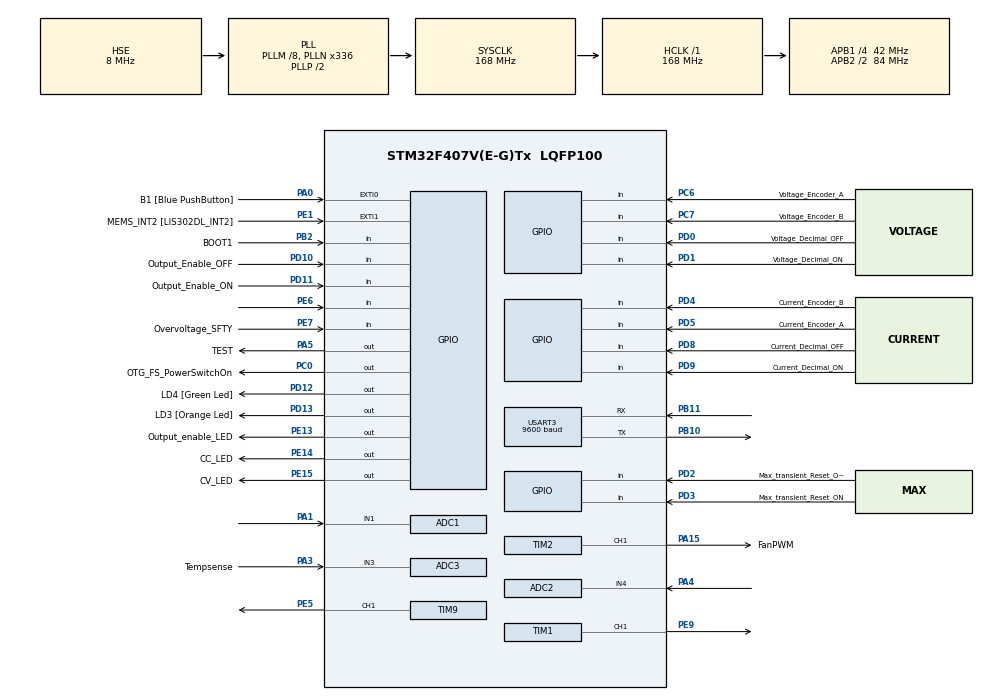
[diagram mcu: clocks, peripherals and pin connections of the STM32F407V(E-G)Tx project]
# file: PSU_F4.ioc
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ADC1.Channel-0\#ChannelRegularConversion=ADC_CHANNEL_1
ADC1.ContinuousConvMode=ENABLE
ADC1.DiscontinuousConvMode=DISABLE
ADC1.NbrOfConversion=1
ADC1.NbrOfConversionFlag=1
ADC1.Rank-0\#ChannelRegularConversion=1
ADC1.SamplingTime-0\#ChannelRegularConversion=ADC_SAMPLETIME_3CYCLES
ADC1.ScanConvMode=DISABLE
ADC1.master=1
ADC2.Channel-3\#ChannelRegularConversion=ADC_CHANNEL_4
ADC2.ContinuousConvMode=ENABLE
ADC2.NbrOfConversionFlag=1
ADC2.Rank-3\#ChannelRegularConversion=1
ADC2.SamplingTime-3\#ChannelRegularConversion=ADC_SAMPLETIME_3CYCLES
ADC3.Channel-0\#ChannelRegularConversion=ADC_CHANNEL_3
ADC3.ContinuousConvMode=ENABLE
ADC3.NbrOfConversionFlag=1
ADC3.Rank-0\#ChannelRegularConversion=1
ADC3.SamplingTime-0\#ChannelRegularConversion=ADC_SAMPLETIME_15CYCLES
Mcu.Family=STM32F4
Mcu.Name=STM32F407V(E-G)Tx
Mcu.Package=LQFP100
NVIC.PriorityGroup=NVIC_PRIORITYGROUP_0
NVIC.TIM4_IRQn=true\:0\:0\:false\:false\:true\:true\:true
NVIC.USART3_IRQn=true\:0\:0\:false\:false\:true\:true\:true
PA0-WKUP.GPIO_Label=B1 [Blue PushButton]
PA0-WKUP.GPIO_ModeDefaultEXTI=GPIO_MODE_EVT_RISING
PA0-WKUP.GPIO_PuPd=GPIO_NOPULL
PA0-WKUP.Signal=GPXTI0
PA1.Signal=ADCx_IN1
PA13.GPIO_Label=SWDIO
PA13.Mode=Serial_Wire
PA13.Signal=SYS_JTMS-SWDIO
PA14.GPIO_Label=SWCLK
PA14.Mode=Serial_Wire
PA14.Signal=SYS_JTCK-SWCLK
PA15.GPIO_Label=FanPWM
PA15.Signal=S_TIM2_CH1_ETR
PA3.GPIO_Label=Tempsense
PA3.Signal=ADCx_IN3
PA4.Signal=ADCx_IN4
PA5.GPIO_Label=TEST
PA5.Signal=GPIO_Output
PB10.Mode=Asynchronous
PB10.Signal=USART3_TX
PB11.Mode=Asynchronous
PB11.Signal=USART3_RX
PB2.GPIO_Label=BOOT1
PB2.GPIO_Mode=GPIO_MODE_INPUT
PB2.GPIO_PuPd=GPIO_NOPULL
PB2.Signal=GPIO_Input
PB3.GPIO_Label=SWO
PB3.Signal=SYS_JTDO-SWO
PC0.GPIO_Label=OTG_FS_PowerSwitchOn
PC0.GPIO_PuPd=GPIO_NOPULL
PC0.GPIO_Speed=GPIO_SPEED_FREQ_LOW
PC0.PinState=GPIO_PIN_SET
PC0.Signal=GPIO_Output
PC6.GPIO_Label=Voltage_Encoder_A
PC6.Signal=GPIO_Input
PC7.GPIO_Label=Voltage_Encoder_B
PC7.Signal=GPIO_Input
PD0.GPIO_Label=Voltage_Decimal_OFF
PD0.Signal=GPIO_Input
PD1.GPIO_Label=Voltage_Decimal_ON
PD1.Signal=GPIO_Input
PD10.GPIO_Label=Output_Enable_OFF
PD10.Signal=GPIO_Input
PD11.GPIO_Label=Output_Enable_ON
PD11.Signal=GPIO_Input
PD12.GPIO_Label=LD4 [Green Led]
PD12.GPIO_PuPd=GPIO_NOPULL
PD12.GPIO_Speed=GPIO_SPEED_FREQ_LOW
PD12.Signal=GPIO_Output
PD13.GPIO_Label=LD3 [Orange Led]
PD13.GPIO_PuPd=GPIO_NOPULL
PD13.GPIO_Speed=GPIO_SPEED_FREQ_LOW
PD13.Signal=GPIO_Output
PD2.GPIO_Label=Max_transient_Reset_OFF
PD2.Signal=GPIO_Input
PD3.GPIO_Label=Max_transient_Reset_ON
PD3.Signal=GPIO_Input
PD4.GPIO_Label=Current_Encoder_B
PD4.Signal=GPIO_Input
PD5.GPIO_Label=Current_Encoder_A
PD5.Signal=GPIO_Input
PD8.GPIO_Label=Current_Decimal_OFF
PD8.Signal=GPIO_Input
PD9.GPIO_Label=Current_Decimal_ON
PD9.Signal=GPIO_Input
PE1.GPIO_Label=MEMS_INT2 [LIS302DL_INT2]
PE1.GPIO_ModeDefaultEXTI=GPIO_MODE_EVT_RISING
PE1.GPIO_PuPd=GPIO_NOPULL
PE1.Signal=GPXTI1
PE13.GPIO_Label=Output_enable_LED
PE13.Signal=GPIO_Output
PE14.GPIO_Label=CC_LED
PE14.Signal=GPIO_Output
PE15.GPIO_Label=CV_LED
PE15.Signal=GPIO_Output
PE5.Signal=S_TIM9_CH1
PE6.Signal=GPIO_Input
PE7.GPIO_Label=Overvoltage_SFTY
PE7.Signal=GPIO_Input
PE9.Signal=S_TIM1_CH1
PH0-OSC_IN.GPIO_Label=PH0-OSC_IN
PH0-OSC_IN.Mode=HSE-External-Oscillator
PH0-OSC_IN.Signal=RCC_OSC_IN
PH1-OSC_OUT.GPIO_Label=PH1-OSC_OUT
PH1-OSC_OUT.Mode=HSE-External-Oscillator
PH1-OSC_OUT.Signal=RCC_OSC_OUT
ProjectManager.HeapSize=0x200
ProjectManager.StackSize=0x400
ProjectManager.TargetToolchain=SW4STM32
RCC.48MHZClocksFreq_Value=48000000
RCC.AHBFreq_Value=168000000
RCC.APB1CLKDivider=RCC_HCLK_DIV4
RCC.APB1Freq_Value=42000000
RCC.APB1TimFreq_Value=84000000
RCC.APB2CLKDivider=RCC_HCLK_DIV2
RCC.APB2Freq_Value=84000000
RCC.APB2TimFreq_Value=168000000
RCC.CortexFreq_Value=168000000
RCC.HCLKFreq_Value=168000000
RCC.HSE_VALUE=8000000
RCC.HSI_VALUE=16000000
RCC.LSE_VALUE=32768
RCC.PLLM=8
RCC.PLLN=336
RCC.PLLQ=7
RCC.PLLSourceVirtual=RCC_PLLSOURCE_HSE
RCC.SYSCLKFreq_VALUE=168000000
RCC.SYSCLKSource=RCC_SYSCLKSOURCE_PLLCLK
RCC.VCOOutputFreq_Value=336000000
SH.ADCx_IN1.0=ADC1_IN1,IN1
SH.ADCx_IN3.0=ADC3_IN3,IN3
SH.ADCx_IN4.0=ADC2_IN4,IN4
SH.S_TIM1_CH1.0=TIM1_CH1,PWM Generation1 CH1
SH.S_TIM2_CH1_ETR.0=TIM2_CH1,PWM Generation1 CH1
SH.S_TIM9_CH1.0=TIM9_CH1,PWM Generation1 CH1
TIM1.Channel-PWM\ Generation1\ CH1=TIM_CHANNEL_1
TIM1.Period=336-1
TIM1.Prescaler=1-1
TIM1.Pulse-PWM\ Generation1\ CH1=0
TIM2.Channel-PWM\ Generation1\ CH1=TIM_CHANNEL_1
TIM2.Period=100-1
TIM2.Prescaler=980-1
TIM2.Pulse-PWM\ Generation1\ CH1=25
TIM4.Period=100-1
TIM4.Prescaler=250-1
TIM9.Channel-PWM\ Generation1\ CH1=TIM_CHANNEL_1
TIM9.Period=100-1
TIM9.Prescaler=20-1
TIM9.Pulse-PWM\ Generation1\ CH1=50
USART3.BaudRate=9600
USART3.VirtualMode=VM_ASYNC
VP_TIM1_VS_ClockSourceINT.Mode=Internal
VP_TIM2_VS_ClockSourceINT.Mode=Internal
VP_TIM4_VS_ClockSourceINT.Mode=Internal
VP_TIM9_VS_ClockSourceINT.Mode=Internal
board=STM32F407G-DISC1

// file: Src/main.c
/* USER CODE BEGIN Header */
/**
 ******************************************************************************
 * @file           : main.c
 * @brief          : Main program body
 ******************************************************************************
 * @attention
 *
 * <h2><center>&copy; Copyright (c) 2019 STMicroelectronics.
 * All rights reserved.</center></h2>
 *
 * This software component is licensed by ST under Ultimate Liberty license
 * SLA0044, the "License"; You may not use this file except in compliance with
 * the License. You may obtain a copy of the License at:
 *                             www.st.com/SLA0044
 *
 ******************************************************************************
 */
/* USER CODE END Header */

#include "main.h"

/* USER CODE BEGIN Includes */

#include "arm_math.h"
#include <stdio.h>
#include <stdlib.h>
#include <string.h>
#include "stm32f4xx.h"
#include <stm32f4xx_hal.h>
#include <stm32_hal_legacy.h>

/* USER CODE END Includes */

/* USER CODE BEGIN PTD */
arm_pid_instance_f32 PID;     //ARM PID instance float 32b

/* USER CODE END PTD */

/* USER CODE BEGIN PD */
#define VOLT_DIV_FACTOR		0.0595 	// assuming R1 = 16.4k and R2 = 1k (3V / 0.595 = 50.4)
// this is still dependent on resistor tolerances
#define CURR_DIV_FACTOR 	0.5		// CSA gain is 0.5V/A, ref to 3V...
// 0A -> 3V, 1A -> 2.5V, 2A -> 2V, 6A -> 0V

#define VOLT_OFFSET			-0.1		// CALIBRATE
#define CURR_OFFSET			0		// CALIBRATE
#define CURR_REF			3		// reference voltage for CSA, CALIBRATE THIS
#define cc_hysterisis       0.01	// to prevent quick jumps b/w CC and CV modes
#define N					1000		// moving avg approx uses 100 past samples

/* USER CODE END PD */

ADC_HandleTypeDef hadc1;
ADC_HandleTypeDef hadc2;
ADC_HandleTypeDef hadc3;

TIM_HandleTypeDef htim1;
TIM_HandleTypeDef htim2;
TIM_HandleTypeDef htim4;
TIM_HandleTypeDef htim9;

UART_HandleTypeDef huart3;

/* USER CODE BEGIN PV */

int error_voltage = 0;   //rename and write conditions for errors
int error_current = 0;
int error_temp = 0;
int OutputCounter = 0;

int OutputOn = 0;
int OutputOff = 0;

int User_Voltage_limit = 0;  //set from encoder
int VDecimal = 1;
int VDecimalCounter = 0;
int VDecimalOn = 0;
int VDecimalLast = 0;
int VaState = 0;
int VbState = 0;
int VaLastState = 0;
int VbLastState = 0;
int vd1 = 0;
int vd2 = 0;
int vd3 = 0;
int vd4 = 1;

int User_Current_limit = 0;  //set from encoder
int CDecimal = 1;
int CDecimalCounter = 0;
int CDecimalOn = 0;
int CDecimalLast = 0;
int CaState = 0;
int CbState = 0;
int CaLastState = 0;
int CbLastState = 0;
int cd1 = 0;
int cd2 = 0;
int cd3 = 0;
int cd4 = 1;

int Watts = 0;  	//Power being displayed to user, calculated from output V and I
int LastWatts = 0;
int farh_avg_int = 0;
int Lastfarh = 0;
int maxreset = 0;
int ResetOn  = 0;
int ResetOff  = 0;

char* data = "Hello World\n\r";
char tx[25];
int count = 0;

//RGB LED
int i = 0;
int up = 0;

int raw_tempsense_value = 0; 	//12b value from adc for TempSense
float farh = 0;
int max_trans_current = 0;

int raw_voltage = 0;            //12b value from adc for vsense
int raw_current = 0;            //12b value from adc for isense
float pwm_val = 0;				//PWM value for duty cycle adjustment to gate driver
float pwm_val_avg = 0;
float v_sense = 0;				//buck output voltage sense
float i_sense = 0;				//buck output current sense
float rload = 0;            	//buck calculated load from v_sense & i_sense
float pid_error = 0;			//difference from target v or i and sensed v or i
int user_en = 1;            	//output enable flag
float i_lim = 0;        		//user selected current limit @elliott  made changes and uses actuall set limit
float v_lim = 0;           		//user selected voltage limit @elliott made changes

float v_sense_avg = 0;			//moving average val of v_sense
float i_sense_avg = 0;			//moving average val of i_sense
float farh_avg = 0;
float current = 0;              					//0-3V conversion for voltage
int v_sense_avg_int = 0;
int i_sense_avg_int = 0;
int cvcc_flag = 0;				//constant voltage = 1, constant current = 0 (modes of operation)

float PID_Kp = 10;             	//proportional gain
float PID_Ki = 0.0006;         	//integral gain
float PID_Kd = 300;             //derivative gain

/* USER CODE END PV */

void SystemClock_Config(void);
static void MX_GPIO_Init(void);
static void MX_ADC1_Init(void);
static void MX_TIM1_Init(void);
static void MX_TIM2_Init(void);
static void MX_ADC2_Init(void);
static void MX_ADC3_Init(void);
static void MX_USART3_UART_Init(void);
static void MX_TIM4_Init(void);
static void MX_TIM9_Init(void);
/* USER CODE BEGIN PFP */

void OutputEnable(int error_voltage, int error_current, int error_temp);
void getVoltage_limit(void);
void getCurrent_limit(void);

static float approxMovingAvg(float avg, float new_sample);
void senseADC(void);
void getV(void);
void getI(void);
void getPower(void);
void getTemp(void);
void FanPWM(void);
void getMode(void);
void max_trans(void);
void PIDsetBuckPWM();

void HAL_UART_TxCpltCallback(UART_HandleTypeDef *huart){	//Print Function

	if (count > 15){
		count = 0;
	}

	switch(count)
	{
	case 0:
		HAL_UART_Transmit_IT(&huart3, (uint8_t *)tx, sprintf(tx, "vd1.val=%d%c%c%c",vd1,255,255,255));
		//HAL_GPIO_TogglePin(PA5);
		break;
	case 1:
		HAL_UART_Transmit_IT(&huart3, (uint8_t *)tx, sprintf(tx, "vd2.val=%d%c%c%c",vd2,255,255,255));
		break;
	case 2:
		HAL_UART_Transmit_IT(&huart3, (uint8_t *)tx, sprintf(tx, "vd3.val=%d%c%c%c",vd3,255,255,255));
		break;
	case 3:
		HAL_UART_Transmit_IT(&huart3, (uint8_t *)tx, sprintf(tx, "vd4.val=%d%c%c%c",vd4,255,255,255));
		break;
	case 4:
		HAL_UART_Transmit_IT(&huart3, (uint8_t *)tx, sprintf(tx, "VoltageL.val=%d%c%c%c",User_Voltage_limit,255,255,255));
		break;
	case 5:
		HAL_UART_Transmit_IT(&huart3, (uint8_t *)tx, sprintf(tx, "VoltageO.val=%d%c%c%c",v_sense_avg_int,255,255,255));
		break;
	case 6:
		HAL_UART_Transmit_IT(&huart3, (uint8_t *)tx, sprintf(tx, "cd1.val=%d%c%c%c",cd1,255,255,255));
		break;
	case 7:
		HAL_UART_Transmit_IT(&huart3, (uint8_t *)tx, sprintf(tx, "cd2.val=%d%c%c%c",cd2,255,255,255));
		break;
	case 8:
		HAL_UART_Transmit_IT(&huart3, (uint8_t *)tx, sprintf(tx, "cd3.val=%d%c%c%c",cd3,255,255,255));
		break;
	case 9:
		HAL_UART_Transmit_IT(&huart3, (uint8_t *)tx, sprintf(tx, "cd4.val=%d%c%c%c",cd4,255,255,255));
		break;
	case 10:
		HAL_UART_Transmit_IT(&huart3, (uint8_t *)tx, sprintf(tx, "CurrentL.val=%d%c%c%c",User_Current_limit,255,255,255));
		break;
	case 11:
		HAL_UART_Transmit_IT(&huart3, (uint8_t *)tx, sprintf(tx, "CurrentO.val=%d%c%c%c",i_sense_avg_int,255,255,255));
		break;
	case 12:
		HAL_UART_Transmit_IT(&huart3, (uint8_t *)tx, sprintf(tx, "Trans.val=%d%c%c%c",max_trans_current,255,255,255));
		break;
	case 13:
		HAL_UART_Transmit_IT(&huart3, (uint8_t *)tx, sprintf(tx, "TransON.val=%d%c%c%c",maxreset,255,255,255));
		break;
	case 14:
		HAL_UART_Transmit_IT(&huart3, (uint8_t *)tx, sprintf(tx, "Watts.val=%d%c%c%c",Watts,255,255,255));
		break;
	case 15:
		HAL_UART_Transmit_IT(&huart3, (uint8_t *)tx, sprintf(tx, "Temp.val=%d%c%c%c",farh_avg_int,255,255,255));
		break;
		//	case 16:
		//		if(error_temp == 1){
		//			HAL_UART_Transmit_IT(&huart3, (uint8_t *)tx, sprintf(tx, "Temp.pco=%d%c%c%c",63488,255,255,255));	//turns temp number red on screen
		//		}
		//		break;
		//	case 17:
		//		if(error_temp == 1){
		//			HAL_UART_Transmit_IT(&huart3, (uint8_t *)tx, sprintf(tx, "temptxt.pco=%d%c%c%c",63488,255,255,255));//turns temp text red on screen
		//		}
		//		break;
		//	case 18:
		//		if(error_temp == 1){
		//			HAL_UART_Transmit_IT(&huart3, (uint8_t *)tx, sprintf(tx, "ftxt.pco=%d%c%c%c",63488,255,255,255));	//turns F text red on screen
		//		}
		//		break;
	}
	count++;
}
/* USER CODE END PFP */

/* USER CODE BEGIN 0 */

void HAL_TIM_PeriodElapsedCallback(TIM_HandleTypeDef *htim){	//RGB LED Interrupt

	if( htim -> Instance ==TIM4){	//Fade red and blue
		if(i<2){
			up = 1;
		}
		if(i>100){
			up = 0;
		}
		if(up == 1){
			i++;
		}
		if(up == 0){
			i--;
		}
		__HAL_TIM_SET_COMPARE(&htim9, TIM_CHANNEL_1, i);	//
	}
}
/* USER CODE END 0 */

int main(void)
{

  /* MCU Configuration--------------------------------------------------------*/

  /* Reset of all peripherals, Initializes the Flash interface and the Systick. */
  HAL_Init();

  /* USER CODE BEGIN Init */

	PID.Kp = PID_Kp;
	PID.Ki = PID_Ki;
	PID.Kd = PID_Kd;

	arm_pid_init_f32(&PID, 1);

  /* USER CODE END Init */

  /* Configure the system clock */
  SystemClock_Config();

  /* Initialize all configured peripherals */
  MX_GPIO_Init();
  MX_ADC1_Init();
  MX_TIM1_Init();
  MX_TIM2_Init();
  MX_ADC2_Init();
  MX_ADC3_Init();
  MX_USART3_UART_Init();
  MX_TIM4_Init();
  MX_TIM9_Init();
  /* USER CODE BEGIN 2 */
	HAL_TIM_PWM_Start(&htim1, TIM_CHANNEL_1); 		//Start PWM_HI for Buck
	//HAL_TIMEx_PWMN_Start(&htim1, TIM_CHANNEL_1); 	//Start PWM_LOW for Buck
	HAL_TIM_PWM_Start(&htim2, TIM_CHANNEL_1); 		//Start PWM for FAN
	//	HAL_TIM_Base_Start_IT(&htim3);           	//Start Interrupt Timer for 3
	HAL_UART_Transmit_IT(&huart3, (uint8_t *)data, 16);	//Begin Printing

	//RGB LED strip
	HAL_TIM_PWM_Start(&htim9, TIM_CHANNEL_1);
	HAL_TIM_Base_Start_IT(&htim4);           //Start Interrupt Timer for 4

  /* USER CODE END 2 */

  /* Infinite loop */
  /* USER CODE BEGIN WHILE */
	while (1)
	{
		//User Interface
		OutputEnable(error_voltage,error_current,error_temp);	//Output enable function, error parameters can be used to send error signal to disable output
		getVoltage_limit();
		getCurrent_limit();

		v_lim = User_Voltage_limit/100.0;
		i_lim = User_Current_limit/100.0;

		//		//temporary limit hardcoding for PID debug
		//		v_lim = 3; 	//V
		//		i_lim = 0.2; 	//A

		//user end
		senseADC();
		getV();
		getI();
		getPower();
		rload = v_sense_avg / i_sense_avg;

		getMode();			//1 = Const V, 0 = Const C mode
		PIDsetBuckPWM();	//set new PWM for buck using PID loop

		getTemp();
		max_trans();  		//Checks and displays max transient current when OE is pressed.
		FanPWM();

    /* USER CODE END WHILE */

	}
}

void SystemClock_Config(void)
{
  RCC_OscInitTypeDef RCC_OscInitStruct = {0};
  RCC_ClkInitTypeDef RCC_ClkInitStruct = {0};

  /** Configure the main internal regulator output voltage
  */
  __HAL_RCC_PWR_CLK_ENABLE();
  __HAL_PWR_VOLTAGESCALING_CONFIG(PWR_REGULATOR_VOLTAGE_SCALE1);
  /** Initializes the CPU, AHB and APB busses clocks
  */
  RCC_OscInitStruct.OscillatorType = RCC_OSCILLATORTYPE_HSE;
  RCC_OscInitStruct.HSEState = RCC_HSE_ON;
  RCC_OscInitStruct.PLL.PLLState = RCC_PLL_ON;
  RCC_OscInitStruct.PLL.PLLSource = RCC_PLLSOURCE_HSE;
  RCC_OscInitStruct.PLL.PLLM = 8;
  RCC_OscInitStruct.PLL.PLLN = 336;
  RCC_OscInitStruct.PLL.PLLP = RCC_PLLP_DIV2;
  RCC_OscInitStruct.PLL.PLLQ = 7;
  if (HAL_RCC_OscConfig(&RCC_OscInitStruct) != HAL_OK)
  {
    Error_Handler();
  }
  /** Initializes the CPU, AHB and APB busses clocks
  */
  RCC_ClkInitStruct.ClockType = RCC_CLOCKTYPE_HCLK|RCC_CLOCKTYPE_SYSCLK
                              |RCC_CLOCKTYPE_PCLK1|RCC_CLOCKTYPE_PCLK2;
  RCC_ClkInitStruct.SYSCLKSource = RCC_SYSCLKSOURCE_PLLCLK;
  RCC_ClkInitStruct.AHBCLKDivider = RCC_SYSCLK_DIV1;
  RCC_ClkInitStruct.APB1CLKDivider = RCC_HCLK_DIV4;
  RCC_ClkInitStruct.APB2CLKDivider = RCC_HCLK_DIV2;

  if (HAL_RCC_ClockConfig(&RCC_ClkInitStruct, FLASH_LATENCY_5) != HAL_OK)
  {
    Error_Handler();
  }
}

static void MX_ADC1_Init(void)
{

  ADC_ChannelConfTypeDef sConfig = {0};

  /** Configure the global features of the ADC (Clock, Resolution, Data Alignment and number of conversion)
  */
  hadc1.Instance = ADC1;
  hadc1.Init.ClockPrescaler = ADC_CLOCK_SYNC_PCLK_DIV4;
  hadc1.Init.Resolution = ADC_RESOLUTION_12B;
  hadc1.Init.ScanConvMode = DISABLE;
  hadc1.Init.ContinuousConvMode = ENABLE;
  hadc1.Init.DiscontinuousConvMode = DISABLE;
  hadc1.Init.ExternalTrigConvEdge = ADC_EXTERNALTRIGCONVEDGE_NONE;
  hadc1.Init.ExternalTrigConv = ADC_SOFTWARE_START;
  hadc1.Init.DataAlign = ADC_DATAALIGN_RIGHT;
  hadc1.Init.NbrOfConversion = 1;
  hadc1.Init.DMAContinuousRequests = DISABLE;
  hadc1.Init.EOCSelection = ADC_EOC_SINGLE_CONV;
  if (HAL_ADC_Init(&hadc1) != HAL_OK)
  {
    Error_Handler();
  }
  /** Configure for the selected ADC regular channel its corresponding rank in the sequencer and its sample time.
  */
  sConfig.Channel = ADC_CHANNEL_1;
  sConfig.Rank = 1;
  sConfig.SamplingTime = ADC_SAMPLETIME_3CYCLES;
  if (HAL_ADC_ConfigChannel(&hadc1, &sConfig) != HAL_OK)
  {
    Error_Handler();
  }

}

static void MX_ADC2_Init(void)
{

  ADC_ChannelConfTypeDef sConfig = {0};

  /** Configure the global features of the ADC (Clock, Resolution, Data Alignment and number of conversion)
  */
  hadc2.Instance = ADC2;
  hadc2.Init.ClockPrescaler = ADC_CLOCK_SYNC_PCLK_DIV4;
  hadc2.Init.Resolution = ADC_RESOLUTION_12B;
  hadc2.Init.ScanConvMode = DISABLE;
  hadc2.Init.ContinuousConvMode = ENABLE;
  hadc2.Init.DiscontinuousConvMode = DISABLE;
  hadc2.Init.ExternalTrigConvEdge = ADC_EXTERNALTRIGCONVEDGE_NONE;
  hadc2.Init.ExternalTrigConv = ADC_SOFTWARE_START;
  hadc2.Init.DataAlign = ADC_DATAALIGN_RIGHT;
  hadc2.Init.NbrOfConversion = 1;
  hadc2.Init.DMAContinuousRequests = DISABLE;
  hadc2.Init.EOCSelection = ADC_EOC_SINGLE_CONV;
  if (HAL_ADC_Init(&hadc2) != HAL_OK)
  {
    Error_Handler();
  }
  /** Configure for the selected ADC regular channel its corresponding rank in the sequencer and its sample time.
  */
  sConfig.Channel = ADC_CHANNEL_4;
  sConfig.Rank = 1;
  sConfig.SamplingTime = ADC_SAMPLETIME_3CYCLES;
  if (HAL_ADC_ConfigChannel(&hadc2, &sConfig) != HAL_OK)
  {
    Error_Handler();
  }

}

static void MX_ADC3_Init(void)
{

  ADC_ChannelConfTypeDef sConfig = {0};

  /** Configure the global features of the ADC (Clock, Resolution, Data Alignment and number of conversion)
  */
  hadc3.Instance = ADC3;
  hadc3.Init.ClockPrescaler = ADC_CLOCK_SYNC_PCLK_DIV4;
  hadc3.Init.Resolution = ADC_RESOLUTION_12B;
  hadc3.Init.ScanConvMode = DISABLE;
  hadc3.Init.ContinuousConvMode = ENABLE;
  hadc3.Init.DiscontinuousConvMode = DISABLE;
  hadc3.Init.ExternalTrigConvEdge = ADC_EXTERNALTRIGCONVEDGE_NONE;
  hadc3.Init.ExternalTrigConv = ADC_SOFTWARE_START;
  hadc3.Init.DataAlign = ADC_DATAALIGN_RIGHT;
  hadc3.Init.NbrOfConversion = 1;
  hadc3.Init.DMAContinuousRequests = DISABLE;
  hadc3.Init.EOCSelection = ADC_EOC_SINGLE_CONV;
  if (HAL_ADC_Init(&hadc3) != HAL_OK)
  {
    Error_Handler();
  }
  /** Configure for the selected ADC regular channel its corresponding rank in the sequencer and its sample time.
  */
  sConfig.Channel = ADC_CHANNEL_3;
  sConfig.Rank = 1;
  sConfig.SamplingTime = ADC_SAMPLETIME_15CYCLES;
  if (HAL_ADC_ConfigChannel(&hadc3, &sConfig) != HAL_OK)
  {
    Error_Handler();
  }

}

static void MX_TIM1_Init(void)
{

  TIM_ClockConfigTypeDef sClockSourceConfig = {0};
  TIM_MasterConfigTypeDef sMasterConfig = {0};
  TIM_OC_InitTypeDef sConfigOC = {0};
  TIM_BreakDeadTimeConfigTypeDef sBreakDeadTimeConfig = {0};

  htim1.Instance = TIM1;
  htim1.Init.Prescaler = 1-1;
  htim1.Init.CounterMode = TIM_COUNTERMODE_UP;
  htim1.Init.Period = 336-1;
  htim1.Init.ClockDivision = TIM_CLOCKDIVISION_DIV1;
  htim1.Init.RepetitionCounter = 0;
  htim1.Init.AutoReloadPreload = TIM_AUTORELOAD_PRELOAD_DISABLE;
  if (HAL_TIM_Base_Init(&htim1) != HAL_OK)
  {
    Error_Handler();
  }
  sClockSourceConfig.ClockSource = TIM_CLOCKSOURCE_INTERNAL;
  if (HAL_TIM_ConfigClockSource(&htim1, &sClockSourceConfig) != HAL_OK)
  {
    Error_Handler();
  }
  if (HAL_TIM_PWM_Init(&htim1) != HAL_OK)
  {
    Error_Handler();
  }
  sMasterConfig.MasterOutputTrigger = TIM_TRGO_RESET;
  sMasterConfig.MasterSlaveMode = TIM_MASTERSLAVEMODE_DISABLE;
  if (HAL_TIMEx_MasterConfigSynchronization(&htim1, &sMasterConfig) != HAL_OK)
  {
    Error_Handler();
  }
  sConfigOC.OCMode = TIM_OCMODE_PWM1;
  sConfigOC.Pulse = 0;
  sConfigOC.OCPolarity = TIM_OCPOLARITY_HIGH;
  sConfigOC.OCNPolarity = TIM_OCNPOLARITY_HIGH;
  sConfigOC.OCFastMode = TIM_OCFAST_DISABLE;
  sConfigOC.OCIdleState = TIM_OCIDLESTATE_RESET;
  sConfigOC.OCNIdleState = TIM_OCNIDLESTATE_RESET;
  if (HAL_TIM_PWM_ConfigChannel(&htim1, &sConfigOC, TIM_CHANNEL_1) != HAL_OK)
  {
    Error_Handler();
  }
  sBreakDeadTimeConfig.OffStateRunMode = TIM_OSSR_DISABLE;
  sBreakDeadTimeConfig.OffStateIDLEMode = TIM_OSSI_DISABLE;
  sBreakDeadTimeConfig.LockLevel = TIM_LOCKLEVEL_OFF;
  sBreakDeadTimeConfig.DeadTime = 0;
  sBreakDeadTimeConfig.BreakState = TIM_BREAK_DISABLE;
  sBreakDeadTimeConfig.BreakPolarity = TIM_BREAKPOLARITY_HIGH;
  sBreakDeadTimeConfig.AutomaticOutput = TIM_AUTOMATICOUTPUT_DISABLE;
  if (HAL_TIMEx_ConfigBreakDeadTime(&htim1, &sBreakDeadTimeConfig) != HAL_OK)
  {
    Error_Handler();
  }
  HAL_TIM_MspPostInit(&htim1);

}

static void MX_TIM2_Init(void)
{

  TIM_ClockConfigTypeDef sClockSourceConfig = {0};
  TIM_MasterConfigTypeDef sMasterConfig = {0};
  TIM_OC_InitTypeDef sConfigOC = {0};

  htim2.Instance = TIM2;
  htim2.Init.Prescaler = 980-1;
  htim2.Init.CounterMode = TIM_COUNTERMODE_UP;
  htim2.Init.Period = 100-1;
  htim2.Init.ClockDivision = TIM_CLOCKDIVISION_DIV1;
  htim2.Init.AutoReloadPreload = TIM_AUTORELOAD_PRELOAD_DISABLE;
  if (HAL_TIM_Base_Init(&htim2) != HAL_OK)
  {
    Error_Handler();
  }
  sClockSourceConfig.ClockSource = TIM_CLOCKSOURCE_INTERNAL;
  if (HAL_TIM_ConfigClockSource(&htim2, &sClockSourceConfig) != HAL_OK)
  {
    Error_Handler();
  }
  if (HAL_TIM_PWM_Init(&htim2) != HAL_OK)
  {
    Error_Handler();
  }
  sMasterConfig.MasterOutputTrigger = TIM_TRGO_RESET;
  sMasterConfig.MasterSlaveMode = TIM_MASTERSLAVEMODE_DISABLE;
  if (HAL_TIMEx_MasterConfigSynchronization(&htim2, &sMasterConfig) != HAL_OK)
  {
    Error_Handler();
  }
  sConfigOC.OCMode = TIM_OCMODE_PWM1;
  sConfigOC.Pulse = 25;
  sConfigOC.OCPolarity = TIM_OCPOLARITY_HIGH;
  sConfigOC.OCFastMode = TIM_OCFAST_DISABLE;
  if (HAL_TIM_PWM_ConfigChannel(&htim2, &sConfigOC, TIM_CHANNEL_1) != HAL_OK)
  {
    Error_Handler();
  }
  HAL_TIM_MspPostInit(&htim2);

}

static void MX_TIM4_Init(void)
{

  TIM_ClockConfigTypeDef sClockSourceConfig = {0};
  TIM_MasterConfigTypeDef sMasterConfig = {0};

  htim4.Instance = TIM4;
  htim4.Init.Prescaler = 250-1;
  htim4.Init.CounterMode = TIM_COUNTERMODE_UP;
  htim4.Init.Period = 100-1;
  htim4.Init.ClockDivision = TIM_CLOCKDIVISION_DIV1;
  htim4.Init.AutoReloadPreload = TIM_AUTORELOAD_PRELOAD_DISABLE;
  if (HAL_TIM_Base_Init(&htim4) != HAL_OK)
  {
    Error_Handler();
  }
  sClockSourceConfig.ClockSource = TIM_CLOCKSOURCE_INTERNAL;
  if (HAL_TIM_ConfigClockSource(&htim4, &sClockSourceConfig) != HAL_OK)
  {
    Error_Handler();
  }
  sMasterConfig.MasterOutputTrigger = TIM_TRGO_RESET;
  sMasterConfig.MasterSlaveMode = TIM_MASTERSLAVEMODE_DISABLE;
  if (HAL_TIMEx_MasterConfigSynchronization(&htim4, &sMasterConfig) != HAL_OK)
  {
    Error_Handler();
  }

}

static void MX_TIM9_Init(void)
{

  TIM_ClockConfigTypeDef sClockSourceConfig = {0};
  TIM_OC_InitTypeDef sConfigOC = {0};

  htim9.Instance = TIM9;
  htim9.Init.Prescaler = 20-1;
  htim9.Init.CounterMode = TIM_COUNTERMODE_UP;
  htim9.Init.Period = 100-1;
  htim9.Init.ClockDivision = TIM_CLOCKDIVISION_DIV1;
  htim9.Init.AutoReloadPreload = TIM_AUTORELOAD_PRELOAD_DISABLE;
  if (HAL_TIM_Base_Init(&htim9) != HAL_OK)
  {
    Error_Handler();
  }
  sClockSourceConfig.ClockSource = TIM_CLOCKSOURCE_INTERNAL;
  if (HAL_TIM_ConfigClockSource(&htim9, &sClockSourceConfig) != HAL_OK)
  {
    Error_Handler();
  }
  if (HAL_TIM_PWM_Init(&htim9) != HAL_OK)
  {
    Error_Handler();
  }
  sConfigOC.OCMode = TIM_OCMODE_PWM1;
  sConfigOC.Pulse = 50;
  sConfigOC.OCPolarity = TIM_OCPOLARITY_HIGH;
  sConfigOC.OCFastMode = TIM_OCFAST_DISABLE;
  if (HAL_TIM_PWM_ConfigChannel(&htim9, &sConfigOC, TIM_CHANNEL_1) != HAL_OK)
  {
    Error_Handler();
  }
  HAL_TIM_MspPostInit(&htim9);

}

static void MX_USART3_UART_Init(void)
{

  huart3.Instance = USART3;
  huart3.Init.BaudRate = 9600;
  huart3.Init.WordLength = UART_WORDLENGTH_8B;
  huart3.Init.StopBits = UART_STOPBITS_1;
  huart3.Init.Parity = UART_PARITY_NONE;
  huart3.Init.Mode = UART_MODE_TX_RX;
  huart3.Init.HwFlowCtl = UART_HWCONTROL_NONE;
  huart3.Init.OverSampling = UART_OVERSAMPLING_16;
  if (HAL_UART_Init(&huart3) != HAL_OK)
  {
    Error_Handler();
  }

}

static void MX_GPIO_Init(void)
{
  GPIO_InitTypeDef GPIO_InitStruct = {0};

  /* GPIO Ports Clock Enable */
  __HAL_RCC_GPIOE_CLK_ENABLE();
  __HAL_RCC_GPIOH_CLK_ENABLE();
  __HAL_RCC_GPIOC_CLK_ENABLE();
  __HAL_RCC_GPIOA_CLK_ENABLE();
  __HAL_RCC_GPIOB_CLK_ENABLE();
  __HAL_RCC_GPIOD_CLK_ENABLE();

  /*Configure GPIO pin Output Level */
  HAL_GPIO_WritePin(OTG_FS_PowerSwitchOn_GPIO_Port, OTG_FS_PowerSwitchOn_Pin, GPIO_PIN_SET);

  /*Configure GPIO pin Output Level */
  HAL_GPIO_WritePin(TEST_GPIO_Port, TEST_Pin, GPIO_PIN_RESET);

  /*Configure GPIO pin Output Level */
  HAL_GPIO_WritePin(GPIOE, Output_enable_LED_Pin|CC_LED_Pin|CV_LED_Pin, GPIO_PIN_RESET);

  /*Configure GPIO pin Output Level */
  HAL_GPIO_WritePin(GPIOD, LD4_Pin|LD3_Pin, GPIO_PIN_RESET);

  /*Configure GPIO pins : PE6 Overvoltage_SFTY_Pin */
  GPIO_InitStruct.Pin = GPIO_PIN_6|Overvoltage_SFTY_Pin;
  GPIO_InitStruct.Mode = GPIO_MODE_INPUT;
  GPIO_InitStruct.Pull = GPIO_NOPULL;
  HAL_GPIO_Init(GPIOE, &GPIO_InitStruct);

  /*Configure GPIO pin : OTG_FS_PowerSwitchOn_Pin */
  GPIO_InitStruct.Pin = OTG_FS_PowerSwitchOn_Pin;
  GPIO_InitStruct.Mode = GPIO_MODE_OUTPUT_PP;
  GPIO_InitStruct.Pull = GPIO_NOPULL;
  GPIO_InitStruct.Speed = GPIO_SPEED_FREQ_LOW;
  HAL_GPIO_Init(OTG_FS_PowerSwitchOn_GPIO_Port, &GPIO_InitStruct);

  /*Configure GPIO pin : B1_Pin */
  GPIO_InitStruct.Pin = B1_Pin;
  GPIO_InitStruct.Mode = GPIO_MODE_EVT_RISING;
  GPIO_InitStruct.Pull = GPIO_NOPULL;
  HAL_GPIO_Init(B1_GPIO_Port, &GPIO_InitStruct);

  /*Configure GPIO pin : TEST_Pin */
  GPIO_InitStruct.Pin = TEST_Pin;
  GPIO_InitStruct.Mode = GPIO_MODE_OUTPUT_PP;
  GPIO_InitStruct.Pull = GPIO_NOPULL;
  GPIO_InitStruct.Speed = GPIO_SPEED_FREQ_LOW;
  HAL_GPIO_Init(TEST_GPIO_Port, &GPIO_InitStruct);

  /*Configure GPIO pin : BOOT1_Pin */
  GPIO_InitStruct.Pin = BOOT1_Pin;
  GPIO_InitStruct.Mode = GPIO_MODE_INPUT;
  GPIO_InitStruct.Pull = GPIO_NOPULL;
  HAL_GPIO_Init(BOOT1_GPIO_Port, &GPIO_InitStruct);

  /*Configure GPIO pins : Output_enable_LED_Pin CC_LED_Pin CV_LED_Pin */
  GPIO_InitStruct.Pin = Output_enable_LED_Pin|CC_LED_Pin|CV_LED_Pin;
  GPIO_InitStruct.Mode = GPIO_MODE_OUTPUT_PP;
  GPIO_InitStruct.Pull = GPIO_NOPULL;
  GPIO_InitStruct.Speed = GPIO_SPEED_FREQ_LOW;
  HAL_GPIO_Init(GPIOE, &GPIO_InitStruct);

  /*Configure GPIO pins : Current_Decimal_OFF_Pin Current_Decimal_ON_Pin Output_Enable_OFF_Pin Output_Enable_ON_Pin
                           Voltage_Decimal_OFF_Pin Voltage_Decimal_ON_Pin Max_transient_Reset_OFF_Pin Max_transient_Reset_ON_Pin
                           Current_Encoder_B_Pin Current_Encoder_A_Pin */
  GPIO_InitStruct.Pin = Current_Decimal_OFF_Pin|Current_Decimal_ON_Pin|Output_Enable_OFF_Pin|Output_Enable_ON_Pin
                          |Voltage_Decimal_OFF_Pin|Voltage_Decimal_ON_Pin|Max_transient_Reset_OFF_Pin|Max_transient_Reset_ON_Pin
                          |Current_Encoder_B_Pin|Current_Encoder_A_Pin;
  GPIO_InitStruct.Mode = GPIO_MODE_INPUT;
  GPIO_InitStruct.Pull = GPIO_NOPULL;
  HAL_GPIO_Init(GPIOD, &GPIO_InitStruct);

  /*Configure GPIO pins : LD4_Pin LD3_Pin */
  GPIO_InitStruct.Pin = LD4_Pin|LD3_Pin;
  GPIO_InitStruct.Mode = GPIO_MODE_OUTPUT_PP;
  GPIO_InitStruct.Pull = GPIO_NOPULL;
  GPIO_InitStruct.Speed = GPIO_SPEED_FREQ_LOW;
  HAL_GPIO_Init(GPIOD, &GPIO_InitStruct);

  /*Configure GPIO pins : Voltage_Encoder_A_Pin Voltage_Encoder_B_Pin */
  GPIO_InitStruct.Pin = Voltage_Encoder_A_Pin|Voltage_Encoder_B_Pin;
  GPIO_InitStruct.Mode = GPIO_MODE_INPUT;
  GPIO_InitStruct.Pull = GPIO_NOPULL;
  HAL_GPIO_Init(GPIOC, &GPIO_InitStruct);

  /*Configure GPIO pin : MEMS_INT2_Pin */
  GPIO_InitStruct.Pin = MEMS_INT2_Pin;
  GPIO_InitStruct.Mode = GPIO_MODE_EVT_RISING;
  GPIO_InitStruct.Pull = GPIO_NOPULL;
  HAL_GPIO_Init(MEMS_INT2_GPIO_Port, &GPIO_InitStruct);

}

/* USER CODE BEGIN 4 */
void OutputEnable(int error_voltage, int error_current, int error_temp){

	int Overvoltage = 0;

	OutputOn = HAL_GPIO_ReadPin(Output_Enable_ON_GPIO_Port,Output_Enable_ON_Pin);
	OutputOff = HAL_GPIO_ReadPin(Output_Enable_OFF_GPIO_Port,Output_Enable_OFF_Pin);
	Overvoltage = HAL_GPIO_ReadPin(Overvoltage_SFTY_GPIO_Port,Overvoltage_SFTY_Pin);

	if (Overvoltage > 0){
		error_voltage = 1;
	}

	if(error_voltage == 1 || error_current == 1 || error_temp == 1){		//if an error has occurred
		OutputOn = 0;	//make output turn off
		OutputOff = 1;	//make output turn off
	}

	if (OutputOn == 0 && OutputOff != 0 && OutputCounter == 0){		//if error or button has been pressed once
		OutputCounter ++;
		HAL_GPIO_WritePin(Output_enable_LED_GPIO_Port,Output_enable_LED_Pin , GPIO_PIN_RESET); //turn off output enable led
	}
	else if(OutputOn != 0 && OutputOff == 0 && OutputCounter == 1){	//if no error and button has been pressed twice
		OutputCounter = 0;
		HAL_GPIO_WritePin(Output_enable_LED_GPIO_Port,Output_enable_LED_Pin , GPIO_PIN_SET);  //turn on output enable led
	}
}

void getVoltage_limit(void){
	VDecimalOn = HAL_GPIO_ReadPin(Voltage_Decimal_ON_GPIO_Port,Voltage_Decimal_ON_Pin);		//read input from PA0 Reads the "current" state of the button
	//VDecimalLast = HAL_GPIO_ReadPin(Voltage_Decimal_OFF_GPIO_Port,Voltage_Decimal_OFF_Pin);	//read input from PA1 Reads the "current" state of the button

	if (VDecimalOn != 0 && VDecimalOn != VDecimalLast && VDecimalCounter == 0){    //if button has been pressed once
		VDecimal = 1;		//start incrementing voltage by 0
		VDecimalCounter ++;	//increment counter
		vd1 = 0;			//set decimal place indicator
		vd2 = 0;			//set decimal place indicator
		vd3 = 0;			//set decimal place indicator
		vd4 = 1;			//set decimal place indicator
	}
	else if(VDecimalOn != 0 && VDecimalOn != VDecimalLast && VDecimalCounter == 1){	//if button has been pressed twice
		VDecimal = 10;		//start incrementing voltage by 10
		VDecimalCounter ++;	//increment counter
		vd1 = 0;			//set decimal place indicator
		vd2 = 0;			//set decimal place indicator
		vd3 = 1;			//set decimal place indicator
		vd4 = 0;			//set decimal place indicator
	}
	else if(VDecimalOn != 0 && VDecimalOn != VDecimalLast && VDecimalCounter == 2){	//if button has been pressed three times
		VDecimal = 100;		//start incrementing voltage by 100
		VDecimalCounter ++;	//increment counter
		vd1 = 0;			//set decimal place indicator
		vd2 = 1;			//set decimal place indicator
		vd3 = 0;			//set decimal place indicator
		vd4 = 0;			//set decimal place indicator
	}
	else if(VDecimalOn != 0 && VDecimalOn != VDecimalLast && VDecimalCounter == 3){	//if button has been pressed four times
		VDecimal = 1000;	//start incrementing voltage by 1000
		VDecimalCounter = 0;//reset counter
		vd1 = 1;			//set decimal place indicator
		vd2 = 0;			//set decimal place indicator
		vd3 = 0;			//set decimal place indicator
		vd4 = 0;			//set decimal place indicator
	}
	VDecimalLast = VDecimalOn;

	//VOLTAGE COUNTER
	VaState = HAL_GPIO_ReadPin(Voltage_Encoder_A_GPIO_Port,Voltage_Encoder_A_Pin);	//read input from PC6 // Reads the "current" state of the outputA
	VbState = HAL_GPIO_ReadPin(Voltage_Encoder_B_GPIO_Port,Voltage_Encoder_B_Pin);	//read input from PC7 // Reads the "current" state of the outputB

	if (VaState != VaLastState && VaState > VbState){		//if the previous and the current state of the outputA are different, that means a Pulse has occurred and if the outputB state is different to the outputA state, that means the encoder is rotating clockwise
		User_Voltage_limit = User_Voltage_limit + VDecimal;	//increment voltage
		if (User_Voltage_limit > 3200) {       				//our power supply cannot go over 32 V
			User_Voltage_limit = 3200;         				//don't allow voltage setting above 32 V
		}
	}
	else if (VbState != VbLastState && VbState > VaState){	//if the previous and the current state of the outputA are different, that means a Pulse has occurred and //if the outputB state is different to the outputA state, that means the encoder is rotating clockwise
		User_Voltage_limit = User_Voltage_limit - VDecimal;	//increment voltage
		if (User_Voltage_limit < 0) {       				//our power supply cannot go over 32 V
			User_Voltage_limit = 0;         				//don't allow voltage setting above 32 V
		}
	}
	VaLastState = VaState;          						//updates the previous state of the outputA with the current state
	VbLastState = VbState;									//updates the previous state of the outputB with the current state
}

void getCurrent_limit(void){

	CDecimalOn = HAL_GPIO_ReadPin(Current_Decimal_ON_GPIO_Port,Current_Decimal_ON_Pin);		//read input from PA2 Reads the "current" state of the button
	//CDecimalLast = HAL_GPIO_ReadPin(Current_Decimal_OFF_GPIO_Port,Current_Decimal_OFF_Pin);	//read input from PA3 Reads the "current" state of the button

	if (CDecimalOn != 0 && CDecimalOn != CDecimalLast && CDecimalCounter == 0){	//if button has been pressed once
		CDecimal = 1;		//start incrementing voltage by 0
		CDecimalCounter ++;	//increment counter
		cd1 = 0;			//set decimal place indicator
		cd2 = 0;			//set decimal place indicator
		cd3 = 0;			//set decimal place indicator
		cd4 = 1;			//set decimal place indicator
	}
	else if(CDecimalOn != 0 && CDecimalOn != CDecimalLast && CDecimalCounter == 1){	//if button has been pressed twice
		CDecimal = 10;		//start incrementing voltage by 10
		CDecimalCounter ++;	//increment counter
		cd1 = 0;			//set decimal place indicator
		cd2 = 0;			//set decimal place indicator
		cd3 = 1;			//set decimal place indicator
		cd4 = 0;			//set decimal place indicator
	}
	else if(CDecimalOn != 0 && CDecimalOn != CDecimalLast && CDecimalCounter == 2){	//if button has been pressed three times
		CDecimal = 100;		//start incrementing voltage by 100
		CDecimalCounter ++;	//increment counter
		cd1 = 0;			//set decimal place indicator
		cd2 = 1;			//set decimal place indicator
		cd3 = 0;			//set decimal place indicator
		cd4 = 0;			//set decimal place indicator
	}
	else if(CDecimalOn != 0 && CDecimalOn != CDecimalLast && CDecimalCounter == 3){	//if button has been pressed four times
		CDecimal = 1000;	//start incrementing voltage by 1000
		CDecimalCounter = 0;//reset counter
		cd1 = 1;			//set decimal place indicator
		cd2 = 0;			//set decimal place indicator
		cd3 = 0;			//set decimal place indicator
		cd4 = 0;			//set decimal place indicator
	}
	CDecimalLast = CDecimalOn;

	//CURRENT COUNTER
	CaState = HAL_GPIO_ReadPin(Current_Encoder_A_GPIO_Port,Current_Encoder_A_Pin);	//read input from PA4 // Reads the "current" state of the outputA
	CbState = HAL_GPIO_ReadPin(Current_Encoder_B_GPIO_Port,Current_Encoder_B_Pin);	//read input from PA5// Reads the "current" state of the outputB

	if (CaState != CaLastState && CaState > CbState){		//if the previous and the current state of the outputA are different, that means a Pulse has occurred and if the outputB state is different to the outputA state, that means the encoder is rotating clockwise
		User_Current_limit = User_Current_limit + CDecimal;	//increment voltage
		if (User_Current_limit > 300) {       				//our power supply cannot go over 32 V
			User_Current_limit = 300;         				//don't allow voltage setting above 32 V
		}
	}
	else if (CbState != CbLastState && CbState > CaState){	//if the previous and the current state of the outputA are different, that means a Pulse has occurred and //if the outputB state is different to the outputA state, that means the encoder is rotating clockwise
		User_Current_limit = User_Current_limit - CDecimal;	//increment voltage
		if (User_Current_limit < 0) {       				//our power supply cannot go over 32 V
			User_Current_limit = 0;         				//don't allow voltage setting above 32 V
		}
	}
	CaLastState = CaState;          						//updates the previous state of the outputA with the current state
	CbLastState = CbState;									//updates the previous state of the outputB with the current state
}

void senseADC (void){

	HAL_ADC_Start(&hadc1);                             //start ADC
	HAL_ADC_PollForConversion(&hadc1, 10);             //poll until complete
	raw_voltage = HAL_ADC_GetValue(&hadc1);            //collect raw voltage
	HAL_ADC_Stop(&hadc1);                              //stop ADC

	HAL_ADC_Start(&hadc2);                             //start ADC
	HAL_ADC_PollForConversion(&hadc2, 10);             //poll until complete
	raw_current = HAL_ADC_GetValue(&hadc2) ;            //collect raw current
	HAL_ADC_Stop(&hadc2);

	HAL_ADC_Start(&hadc3);                             //start ADC
	HAL_ADC_PollForConversion(&hadc3, 10);             //poll until complete
	raw_tempsense_value = HAL_ADC_GetValue(&hadc3);    //collect raw tempval
	HAL_ADC_Stop(&hadc3);

	return;
}

void getV (void){

	float voltage = 0;             						//0-3V conversion for voltage
	float percent_voltage = 0;      					//%V from 0-3

	percent_voltage = ((float) raw_voltage) / 4092;
	voltage = percent_voltage * 3;						//0-3V ADC signal
	v_sense = voltage / VOLT_DIV_FACTOR;				//0-50V value
	v_sense_avg = approxMovingAvg(v_sense_avg, v_sense);//take average
	v_sense_avg_int = (int)(v_sense_avg*100);			//make variable compatible with screen

	if (v_sense_avg_int > 3200){						//if voltage is above safe value, return error
		error_voltage = 1;								//set error as 1 to turn off outputs
	}
	else {
		error_voltage = 0;								//set error to 0 if nothing is wrong
	}

	return;
}

void getI (void){

	float percent_current = 0;      					//%V from 0-3

	percent_current = ((float) raw_current) / 4092;		//raw percent voltage 0-3
	current =  CURR_REF - 2*(percent_current * 3);					//0-3V ADC signal
	i_sense = (current / CURR_DIV_FACTOR) + CURR_OFFSET;//0-3A value
	i_sense_avg = approxMovingAvg(i_sense_avg, i_sense);//take average
	i_sense_avg_int = (int)(i_sense_avg*100);			//make variable compatible with screen

	if (i_sense_avg_int > 300){							//if voltage is above safe value, return error
		error_current = 1;								//set error as 1 to turn off outputs
	}
	else {
		error_current = 0;								//set error to 0 if nothing is wrong
	}

	return;
}

void getPower (void){

	Watts = v_sense_avg_int * i_sense_avg_int / 100;	//calculate power
	return;
}

void getTemp (void){

	farh = ((raw_tempsense_value/4096.0)*3000.0); 	//calculate the farenheit using 5V
	farh_avg = approxMovingAvg(farh_avg,farh);		//finds average of temperature
	farh_avg_int = (int)(farh_avg);					//make variable compatible with screen

	if((farh_avg_int >= 1000 || farh_avg_int < 0) && error_temp == 0){	//if temperature rises above 100 F, alert user.
		error_temp = 1;													//an error has occurred
	}
	else if(farh_avg_int < 1000 && farh_avg_int > 0 && error_temp == 1){//if nothing is wrong and something was wrong before
		error_temp = 0;													//an error has not occurred
		//					printf("Temp.pco=%d%c%c%c",65535,255,255,255);					//turns temp number white on screen Temp.pco=0���
		//					printf("temptxt.pco=%d%c%c%c",65535,255,255,255);				//turns temp text white on screen tempxt.pco=0���
		//					printf("ftxt.pco=%d%c%c%c",65535,255,255,255);					//turns F text white on screen ftxt.pco=0���
		return;
	}
}

void FanPWM (void){

	float fan_duty=0;

	if(farh_avg_int>800){
		fan_duty = 80;
	}
	else{
		fan_duty = 30;
	}

	__HAL_TIM_SET_COMPARE(&htim2,TIM_CHANNEL_1,fan_duty);

}

static float approxMovingAvg(float avg, float newsample)
{
	avg -= avg / N;
	avg += newsample / N;

	return avg;
}

void getMode(void){

	if(cvcc_flag == 0){   //check if you were in cc mode
		if(i_sense_avg >=(i_lim - cc_hysterisis)){ //checking lower range
			//cc mode
			cvcc_flag = 0;
		}
		else
			cvcc_flag = 1;		//otherwise assume cv mode
	}
	else{
		if(i_sense_avg >=i_lim){ //checking lower range
			//cc mode
			cvcc_flag = 0;
		}
		else
			cvcc_flag = 1;		//otherwise assume cv mode

	}

	// turn on top STM32F0disc LED for CV, bottom for CC mode for debug
	if(cvcc_flag == 1){
		//breadboard LEDS
		HAL_GPIO_WritePin(CC_LED_GPIO_Port, CC_LED_Pin, GPIO_PIN_RESET);
		HAL_GPIO_WritePin(CV_LED_GPIO_Port, CV_LED_Pin, GPIO_PIN_SET);
	}
	else
	{

		// breadboard LEDS
		HAL_GPIO_WritePin(CC_LED_GPIO_Port, CC_LED_Pin, GPIO_PIN_SET);
		HAL_GPIO_WritePin(CV_LED_GPIO_Port, CV_LED_Pin, GPIO_PIN_RESET);
	}
	return;
}

void max_trans(void){

	ResetOn  = HAL_GPIO_ReadPin(Max_transient_Reset_ON_GPIO_Port,Max_transient_Reset_ON_Pin);	//read input from PB0 Reads the "current" state of the button
	ResetOff = HAL_GPIO_ReadPin(Max_transient_Reset_OFF_GPIO_Port,Max_transient_Reset_OFF_Pin);	//read input from PB1 Reads the "current" state of the button

	if (ResetOn > ResetOff){						//if button has been pressed once
		if (i_sense_avg_int > max_trans_current){	//if the previous and the current state of the outputA are different, that means a Pulse has occurred
			max_trans_current = i_sense_avg_int;	//updates the previous state of the average current sense with the current state
			maxreset = 1;							//indicator on
		}
	}
	else if(ResetOn < ResetOff && maxreset == 1){	//if button has been pressed twice
		max_trans_current = 0;						//Reset max transient current
		maxreset = 0;								//indicator off
	}
}

void PIDsetBuckPWM(void){

	if(cvcc_flag == 1){	//if in CV mode
		pid_error = v_lim - v_sense_avg;
	}else{			//in CC mode
		pid_error = i_lim - i_sense_avg;
	}

	if(OutputOn == 0){
		pid_error = 0; //do not accumulate error if output is disabled via OE button
	}

	pwm_val = arm_pid_f32(&PID, pid_error);
	pwm_val_avg = approxMovingAvg(pwm_val_avg, pwm_val);
	//FOR TESTING
	//pwm_val = i_sense_avg * 30;
	/* 10% = 35
	 * 20% = 70
	 * 30% = 105
	 * 40% = 140
	 * 50% = 175
	 *
	 * 95% = 330
	 * 100% = 350
	 */

	//capture max or min PWM to prevent out of range duty cycle (0-95%)
	if(pwm_val_avg > 105) //330 is max for 95% duty cycle on PWM_HI
		pwm_val_avg = 105; //28%

	if(pwm_val_avg < 0)
		pwm_val_avg = 0;

	//hardcode to test 12V line
	//pwm_val_avg	= 0;
	__HAL_TIM_SET_COMPARE(&htim1, TIM_CHANNEL_1, pwm_val_avg);
}

/* USER CODE END 4 */

void Error_Handler(void)
{
}

/************************ (C) COPYRIGHT STMicroelectronics *****END OF FILE****/
